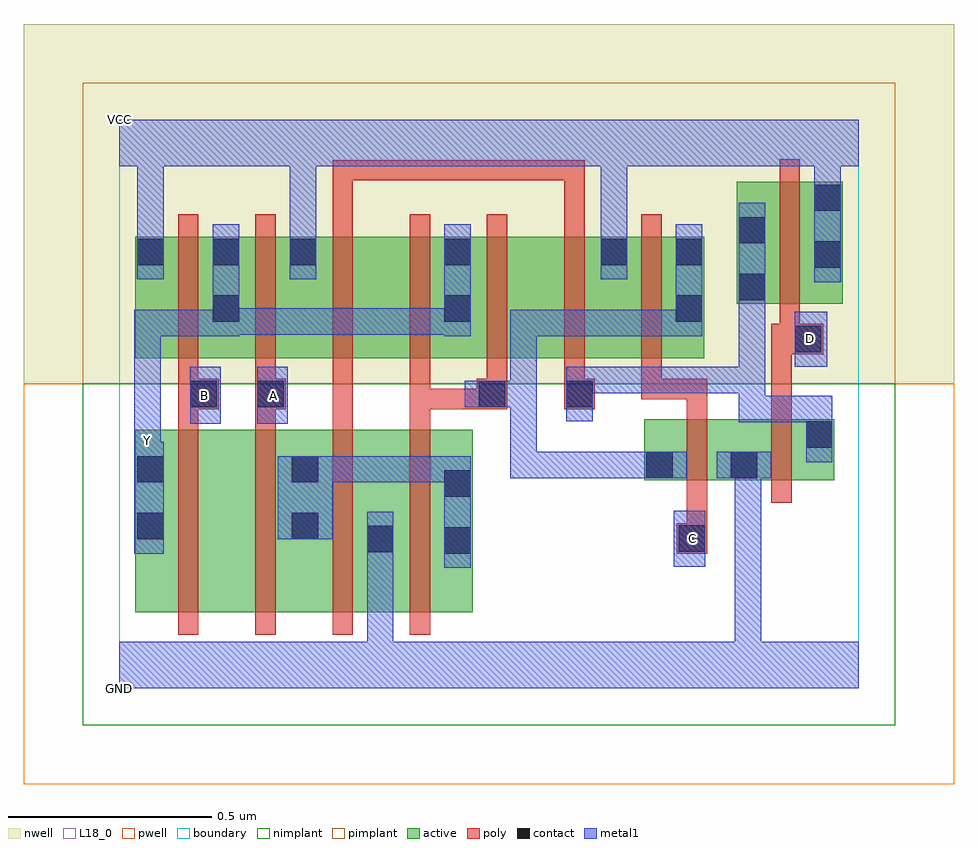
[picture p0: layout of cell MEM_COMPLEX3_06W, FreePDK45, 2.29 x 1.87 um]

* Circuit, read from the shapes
.subckt MEM_COMPLEX3_06W A B C D GND VCC Y
M1 n1 B Y VSUBS nfet w=0.45u l=0.05u
M2 n2 A n1 VSUBS nfet w=0.45u l=0.05u
M3 GND n3 n2 VSUBS nfet w=0.45u l=0.05u
M4 n2 n4 GND VSUBS nfet w=0.45u l=0.05u
M5 GND C n4 VSUBS nfet w=0.15u l=0.05u
M6 n3 D GND VSUBS nfet w=0.15u l=0.05u
M7 Y B VCC n5 pfet w=0.3u l=0.05u
M8 VCC A Y n5 pfet w=0.3u l=0.05u
M9 n6 n3 VCC n5 pfet w=0.3u l=0.05u
M10 Y n4 n6 n5 pfet w=0.3u l=0.05u
M11 n7 n4 Y n5 pfet w=0.3u l=0.05u
M12 VCC n3 n7 n5 pfet w=0.3u l=0.05u
M13 n4 C VCC n5 pfet w=0.3u l=0.05u
M14 VCC D n3 n5 pfet w=0.3u l=0.05u
.ends

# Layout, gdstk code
import gdstk
lib = gdstk.Library(unit=1e-6, precision=1e-09)
def R(c, l, rs):  # rectangles x0, y0, x1, y1
    for r in rs: c.add(gdstk.rectangle(r[:2], r[2:], *l))
def A(c, l, x, y, w, h, nx, ny, dx, dy):  # array of equal rectangles
    R(c, l, [(x+i*dx, y+j*dy, x+i*dx+w, y+j*dy+h) for i in range(nx) for j in range(ny)])
active = (1, 0)
pwell = (2, 0)
nwell = (3, 0)
nimplant = (4, 0)
pimplant = (5, 0)
poly = (9, 0)
contact = (10, 0)
metal1 = (11, 0)
L18_0 = (18, 0)
boundary = (235, 0)

mem_complex3_06w = lib.new_cell('MEM_COMPLEX3_06W')
R(mem_complex3_06w, active, [(0.04,0.187,0.265,0.637), (0.265,0.187,0.495,0.637), (0.42,0.187,0.68,0.637), (0.605,0.187,0.87,0.637), (0.04,0.245,0.115,0.637), (0.42,0.245,0.495,0.637), (0.605,0.245,0.68,0.542), (0.795,0.245,0.87,0.637), (1.292,0.512,1.575,0.662), (1.292,0.512,1.367,0.662), (1.5,0.512,1.76,0.662), (1.5,0.512,1.575,0.587), (1.685,0.545,1.76,0.662), (0.04,0.812,0.115,1.112), (0.04,0.812,0.3,1.112), (0.225,0.812,0.3,1.112), (0.225,0.812,0.49,1.112), (0.415,0.812,0.645,1.112), (0.645,0.812,0.87,1.112), (0.795,0.812,0.87,1.112), (0.795,0.812,1.025,1.112), (1.025,0.812,1.255,1.112), (1.18,0.812,1.255,1.112), (1.18,0.812,1.44,1.112), (1.365,0.812,1.44,1.112), (0.415,0.875,0.49,1.112), (1.52,0.947,1.78,1.247), (1.52,0.947,1.595,1.165), (1.705,0.947,1.78,1.247)])
R(mem_complex3_06w, pwell, [(-0.235,-0.235,2.055,0.75)])
R(mem_complex3_06w, nwell, [(-0.235,0.75,2.055,1.635)])
R(mem_complex3_06w, nimplant, [(-0.09,-0.09,1.91,0.75)])
R(mem_complex3_06w, pimplant, [(-0.09,0.75,1.91,1.49)])
A(mem_complex3_06w, poly, 0.145, 0.132, 0.05, 0.56, 4, 1, 0.19, 0)
A(mem_complex3_06w, poly, 0.145, 0.712, 0.05, 0.095, 3, 1, 0.19, 0)
A(mem_complex3_06w, poly, 0.905, 0.712, 0.05, 0.095, 3, 1, 0.19, 0)
A(mem_complex3_06w, poly, 0.145, 0.757, 0.05, 0.41, 7, 1, 0.19, 0)
R(mem_complex3_06w, poly, [(1.372,0.332,1.447,0.407), (1.397,0.357,1.447,0.507), (1.397,0.457,1.447,0.717), (1.605,0.457,1.655,0.717), (0.145,0.642,0.195,0.737), (0.335,0.642,0.385,0.737), (0.525,0.642,0.575,0.762), (0.715,0.642,0.765,0.737), (1.397,0.667,1.447,0.762), (1.605,0.667,1.655,0.872), (0.145,0.687,0.245,0.762), (0.335,0.687,0.41,0.762), (0.715,0.687,0.765,0.737), (0.715,0.687,0.93,0.737), (0.715,0.687,0.765,0.807), (0.88,0.687,0.955,0.762), (0.88,0.687,0.93,0.737), (0.88,0.687,0.93,0.737), (1.095,0.687,1.17,0.762), (0.525,0.712,0.575,0.762), (1.285,0.712,1.447,0.762), (1.605,0.822,1.732,0.897), (1.625,0.847,1.675,0.942), (1.625,0.892,1.675,1.302), (0.525,1.117,0.575,1.3), (1.095,1.117,1.145,1.3), (0.525,1.25,0.575,1.3), (0.525,1.25,0.745,1.3), (0.695,1.25,0.745,1.3), (0.695,1.25,0.745,1.3), (0.695,1.25,0.745,1.3), (0.695,1.25,0.975,1.3), (0.925,1.25,0.975,1.3), (0.925,1.25,0.975,1.3), (0.925,1.25,0.975,1.3), (0.925,1.25,1.145,1.3), (1.095,1.25,1.145,1.3), (1.095,1.25,1.145,1.3), (1.095,1.25,1.145,1.3)])
A(mem_complex3_06w, contact, 0.23, 0.902, 0.065, 0.065, 3, 1, 0.57, 0)
R(mem_complex3_06w, contact, [(0.8,0.332,0.865,0.397), (0.61,0.335,0.675,0.4), (1.377,0.337,1.442,0.402), (0.045,0.367,0.11,0.432), (0.425,0.367,0.49,0.432), (0.8,0.472,0.865,0.537), (0.045,0.507,0.11,0.572), (0.425,0.507,0.49,0.572), (1.297,0.517,1.362,0.582), (1.505,0.517,1.57,0.582), (1.69,0.592,1.755,0.657), (0.175,0.692,0.24,0.757), (0.34,0.692,0.405,0.757), (0.885,0.692,0.95,0.757), (1.1,0.692,1.165,0.757), (1.662,0.827,1.727,0.892), (1.525,0.955,1.59,1.02), (1.71,1.035,1.775,1.1), (0.045,1.042,0.11,1.107), (0.23,1.042,0.295,1.107), (0.42,1.042,0.485,1.107), (0.8,1.042,0.865,1.107), (1.185,1.042,1.25,1.107), (1.37,1.042,1.435,1.107), (1.525,1.095,1.59,1.16), (1.71,1.175,1.775,1.24)])
A(mem_complex3_06w, metal1, 0.962, 0.517, 0.065, 0.065, 1, 3, 0, 0.175)
A(mem_complex3_06w, metal1, 0.23, 0.867, 0.065, 0.275, 3, 1, 0.57, 0)
R(mem_complex3_06w, metal1, [(0,0,1.82,0.115), (0.61,0.05,0.675,0.115), (0.61,0.05,0.675,0.115), (0.61,0.05,0.675,0.365), (1.515,0.05,1.58,0.115), (1.515,0.05,1.58,0.115), (1.515,0.05,1.58,0.56), (0.8,0.297,0.865,0.572), (0.61,0.3,0.675,0.435), (1.365,0.3,1.442,0.437), (0.037,0.332,0.11,0.607), (0.39,0.367,0.525,0.572), (1.515,0.495,1.58,0.56), (1.515,0.495,1.58,0.582), (0.46,0.507,0.525,0.572), (0.46,0.507,0.525,0.572), (0.46,0.507,0.727,0.572), (0.662,0.507,0.727,0.572), (0.662,0.507,0.727,0.572), (0.662,0.507,0.727,0.572), (0.662,0.507,0.865,0.572), (0.962,0.517,1.292,0.582), (0.962,0.517,1.027,0.757), (1.227,0.517,1.292,0.582), (1.227,0.517,1.327,0.582), (1.262,0.517,1.397,0.582), (1.47,0.517,1.605,0.582), (1.515,0.517,1.58,0.582), (1.515,0.517,1.58,0.582), (0.037,0.542,0.102,0.607), (0.037,0.542,0.102,0.677), (1.69,0.557,1.755,0.692), (0.037,0.612,0.102,0.932), (1.69,0.627,1.755,0.692), (1.69,0.627,1.755,0.72), (0.175,0.652,0.25,0.792), (0.34,0.652,0.415,0.792), (1.525,0.655,1.59,0.72), (1.525,0.655,1.755,0.72), (1.525,0.655,1.59,0.792), (1.1,0.657,1.165,0.792), (0.85,0.692,0.985,0.757), (0.92,0.692,1.027,0.757), (0.962,0.692,1.027,0.932), (1.1,0.727,1.165,0.792), (1.1,0.727,1.165,0.792), (1.1,0.727,1.435,0.792), (1.37,0.727,1.435,0.792), (1.37,0.727,1.59,0.792), (1.525,0.727,1.59,0.792), (1.525,0.727,1.59,0.792), (1.525,0.727,1.59,0.792), (1.525,0.727,1.59,0.985), (1.662,0.792,1.742,0.927), (0.037,0.867,0.102,0.932), (0.037,0.867,0.102,0.932), (0.037,0.867,0.102,0.932), (0.037,0.867,0.295,0.932), (0.962,0.867,1.165,0.932), (1.1,0.867,1.165,0.932), (1.1,0.867,1.165,0.932), (1.1,0.867,1.165,0.932), (1.1,0.867,1.435,0.932), (1.37,0.867,1.435,0.932), (1.37,0.867,1.435,0.932), (0.23,0.87,0.295,0.935), (0.23,0.87,0.295,0.935), (0.23,0.87,0.537,0.935), (0.472,0.87,0.537,0.935), (0.472,0.87,0.537,0.935), (0.472,0.87,0.537,0.935), (0.472,0.87,0.675,0.935), (0.61,0.87,0.675,0.935), (0.61,0.87,0.675,0.935), (0.61,0.87,0.675,0.935), (0.61,0.87,0.865,0.935), (1.525,0.92,1.59,1.195), (1.71,1,1.775,1.275), (0.045,1.007,0.11,1.142), (0.42,1.007,0.485,1.142), (1.185,1.007,1.25,1.142), (0.045,1.077,0.11,1.35), (0.42,1.077,0.485,1.142), (0.42,1.077,0.485,1.142), (0.42,1.077,0.485,1.35), (1.185,1.077,1.25,1.35), (1.71,1.21,1.775,1.275), (1.71,1.21,1.775,1.275), (1.71,1.21,1.775,1.35), (0,1.285,1.82,1.4), (0.045,1.285,0.11,1.35), (0.045,1.285,0.11,1.35), (1.185,1.285,1.25,1.35), (1.185,1.285,1.25,1.35)])
R(mem_complex3_06w, L18_0, [(0,0,1.82,0.115), (0.61,0.05,0.675,0.115), (0.61,0.05,0.675,0.115), (0.61,0.05,0.675,0.365), (1.515,0.05,1.58,0.115), (1.515,0.05,1.58,0.115), (1.515,0.05,1.58,0.56), (0.61,0.3,0.675,0.435), (1.365,0.3,1.442,0.437), (0.037,0.332,0.11,0.607), (1.377,0.337,1.442,0.402), (1.515,0.495,1.58,0.56), (1.515,0.495,1.58,0.582), (1.47,0.517,1.605,0.582), (1.515,0.517,1.58,0.582), (1.515,0.517,1.58,0.582), (0.037,0.542,0.102,0.677), (0.037,0.542,0.102,0.607), (0.037,0.577,0.102,0.642), (0.037,0.612,0.102,0.932), (0.175,0.652,0.25,0.792), (0.34,0.652,0.415,0.792), (0.177,0.687,0.242,0.752), (0.347,0.687,0.412,0.752), (1.662,0.792,1.742,0.927), (1.667,0.827,1.732,0.892), (0.037,0.867,0.102,0.932), (0.037,0.867,0.102,0.932), (0.037,0.867,0.102,0.932), (0.037,0.867,0.295,0.932), (0.23,0.867,0.295,1.142), (0.8,0.867,0.865,1.142), (0.23,0.87,0.295,0.935), (0.23,0.87,0.295,0.935), (0.23,0.87,0.537,0.935), (0.472,0.87,0.537,0.935), (0.472,0.87,0.537,0.935), (0.472,0.87,0.537,0.935), (0.472,0.87,0.675,0.935), (0.61,0.87,0.675,0.935), (0.61,0.87,0.675,0.935), (0.61,0.87,0.675,0.935), (0.61,0.87,0.865,0.935), (1.71,1,1.775,1.275), (0.045,1.007,0.11,1.142), (0.42,1.007,0.485,1.142), (1.185,1.007,1.25,1.142), (0.045,1.077,0.11,1.35), (0.42,1.077,0.485,1.142), (0.42,1.077,0.485,1.142), (0.42,1.077,0.485,1.35), (1.185,1.077,1.25,1.35), (1.71,1.21,1.775,1.275), (1.71,1.21,1.775,1.275), (1.71,1.21,1.775,1.35), (0,1.285,1.82,1.4), (0.045,1.285,0.11,1.35), (0.045,1.285,0.11,1.35), (1.185,1.285,1.25,1.35), (1.185,1.285,1.25,1.35)])
R(mem_complex3_06w, boundary, [(0,0,1.82,1.4)])
mem_complex3_06w.add(gdstk.Label('A', (0.38,0.72), layer=11, texttype=0))
mem_complex3_06w.add(gdstk.Label('B', (0.21,0.72), layer=11, texttype=0))
mem_complex3_06w.add(gdstk.Label('C', (1.41,0.37), layer=11, texttype=0))
mem_complex3_06w.add(gdstk.Label('D', (1.7,0.86), layer=11, texttype=0))
mem_complex3_06w.add(gdstk.Label('Y', (0.07,0.61), layer=11, texttype=0))
mem_complex3_06w.add(gdstk.Label('VCC', (0,1.4), layer=11, texttype=0))
mem_complex3_06w.add(gdstk.Label('GND', (0,0), layer=11, texttype=0))

lib.write_gds('MEM_COMPLEX3_06W.gds')
